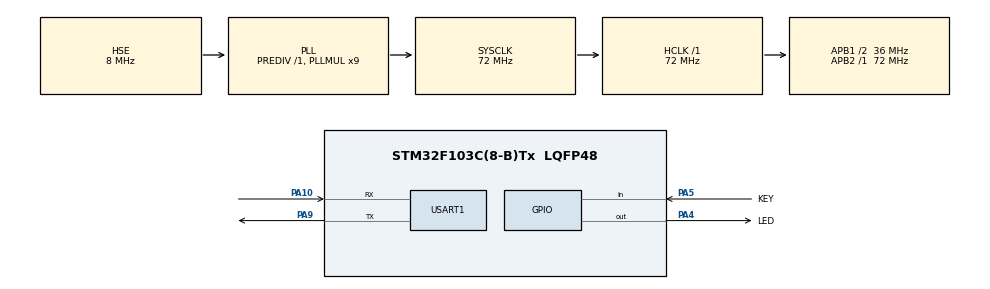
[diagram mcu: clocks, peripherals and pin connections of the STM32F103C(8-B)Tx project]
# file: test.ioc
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Mcu.Family=STM32F1
Mcu.Name=STM32F103C(8-B)Tx
Mcu.Package=LQFP48
NVIC.PriorityGroup=NVIC_PRIORITYGROUP_4
NVIC.USART1_IRQn=true\:4\:0\:true\:false\:true\:true\:true\:true
PA10.Mode=Asynchronous
PA10.Signal=USART1_RX
PA13.Mode=Serial_Wire
PA13.Signal=SYS_JTMS-SWDIO
PA14.Mode=Serial_Wire
PA14.Signal=SYS_JTCK-SWCLK
PA4.GPIO_Label=LED
PA4.PinState=GPIO_PIN_SET
PA4.Signal=GPIO_Output
PA5.GPIO_Label=KEY
PA5.Signal=GPIO_Input
PA9.Mode=Asynchronous
PA9.Signal=USART1_TX
PC14-OSC32_IN.Mode=LSE-External-Oscillator
PC14-OSC32_IN.Signal=RCC_OSC32_IN
PC15-OSC32_OUT.Mode=LSE-External-Oscillator
PC15-OSC32_OUT.Signal=RCC_OSC32_OUT
PD0-OSC_IN.Mode=HSE-External-Oscillator
PD0-OSC_IN.Signal=RCC_OSC_IN
PD1-OSC_OUT.Mode=HSE-External-Oscillator
PD1-OSC_OUT.Signal=RCC_OSC_OUT
ProjectManager.HeapSize=0x200
ProjectManager.StackSize=0x400
ProjectManager.TargetToolchain=Makefile
RCC.AHBFreq_Value=72000000
RCC.APB1CLKDivider=RCC_HCLK_DIV2
RCC.APB1Freq_Value=36000000
RCC.APB1TimFreq_Value=72000000
RCC.APB2Freq_Value=72000000
RCC.APB2TimFreq_Value=72000000
RCC.HCLKFreq_Value=72000000
RCC.PLLMUL=RCC_PLL_MUL9
RCC.PLLSourceVirtual=RCC_PLLSOURCE_HSE
RCC.SYSCLKFreq_VALUE=72000000
RCC.SYSCLKSource=RCC_SYSCLKSOURCE_PLLCLK
RCC.USBFreq_Value=72000000
USART1.VirtualMode=VM_ASYNC
board=custom

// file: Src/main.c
/* USER CODE BEGIN Header */
/**
  ******************************************************************************
  * @file           : main.c
  * @brief          : Main program body
  ******************************************************************************
  * @attention
  *
  * Copyright (c) 2023 STMicroelectronics.
  * All rights reserved.
  *
  * This software is licensed under terms that can be found in the LICENSE file
  * in the root directory of this software component.
  * If no LICENSE file comes with this software, it is provided AS-IS.
  *
  ******************************************************************************
  */
/* USER CODE END Header */
#include "main.h"
#include "usart.h"
#include "gpio.h"

/* USER CODE BEGIN Includes */
#include "stdio.h"
/* USER CODE END Includes */

void SystemClock_Config(void);

/* USER CODE BEGIN 0 */
/* Private function prototypes -----------------------------------------------*/
#ifdef __GNUC__
#define PUTCHAR_PROTOTYPE int __io_putchar(int ch)
#else
#define PUTCHAR_PROTOTYPE int fputc(int ch, FILE *f)
#endif /* __GNUC__ */

/**
  * @brief  Retargets the C library printf function to the USART.
  * @param  None
  * @retval None
  */
PUTCHAR_PROTOTYPE
{
    while(__HAL_UART_GET_FLAG(&huart1, UART_FLAG_TC) == RESET);
  HAL_UART_Transmit(&huart1, (uint8_t *)&ch, 1, HAL_MAX_DELAY);
  return ch;
}
int _write(int file, char *ptr, int len)
{
	int DataIdx;

	for (DataIdx = 0; DataIdx < len; DataIdx++)
	{
		__io_putchar(*ptr++);
	}
	return len;
}
/* USER CODE END 0 */

int main(void)
{

  /* MCU Configuration--------------------------------------------------------*/

  /* Reset of all peripherals, Initializes the Flash interface and the Systick. */
  HAL_Init();

  /* Configure the system clock */
  SystemClock_Config();

  /* Initialize all configured peripherals */
  MX_GPIO_Init();
  MX_USART1_UART_Init();

  /* Infinite loop */
  /* USER CODE BEGIN WHILE */
  while (1)
  {
    // HAL_UART_Transmit(&huart1, (uint8_t *)"H", 1, 1000);
    // while(__HAL_UART_GET_FLAG(&huart1, UART_FLAG_TC) == RESET);
    printf("d\n");

    HAL_GPIO_WritePin(LED_GPIO_Port, LED_Pin, GPIO_PIN_SET);
    HAL_Delay(400);
    HAL_GPIO_WritePin(LED_GPIO_Port, LED_Pin, GPIO_PIN_RESET);
    HAL_Delay(400);

    /* USER CODE END WHILE */

  }
}

void SystemClock_Config(void)
{
  RCC_OscInitTypeDef RCC_OscInitStruct = {0};
  RCC_ClkInitTypeDef RCC_ClkInitStruct = {0};

  /** Initializes the RCC Oscillators according to the specified parameters
  * in the RCC_OscInitTypeDef structure.
  */
  RCC_OscInitStruct.OscillatorType = RCC_OSCILLATORTYPE_HSE;
  RCC_OscInitStruct.HSEState = RCC_HSE_ON;
  RCC_OscInitStruct.HSEPredivValue = RCC_HSE_PREDIV_DIV1;
  RCC_OscInitStruct.HSIState = RCC_HSI_ON;
  RCC_OscInitStruct.PLL.PLLState = RCC_PLL_ON;
  RCC_OscInitStruct.PLL.PLLSource = RCC_PLLSOURCE_HSE;
  RCC_OscInitStruct.PLL.PLLMUL = RCC_PLL_MUL9;
  if (HAL_RCC_OscConfig(&RCC_OscInitStruct) != HAL_OK)
  {
    Error_Handler();
  }

  /** Initializes the CPU, AHB and APB buses clocks
  */
  RCC_ClkInitStruct.ClockType = RCC_CLOCKTYPE_HCLK|RCC_CLOCKTYPE_SYSCLK
                              |RCC_CLOCKTYPE_PCLK1|RCC_CLOCKTYPE_PCLK2;
  RCC_ClkInitStruct.SYSCLKSource = RCC_SYSCLKSOURCE_PLLCLK;
  RCC_ClkInitStruct.AHBCLKDivider = RCC_SYSCLK_DIV1;
  RCC_ClkInitStruct.APB1CLKDivider = RCC_HCLK_DIV2;
  RCC_ClkInitStruct.APB2CLKDivider = RCC_HCLK_DIV1;

  if (HAL_RCC_ClockConfig(&RCC_ClkInitStruct, FLASH_LATENCY_2) != HAL_OK)
  {
    Error_Handler();
  }
}

void Error_Handler(void)
{
  __disable_irq();
  while (1)
  {
  }
}
